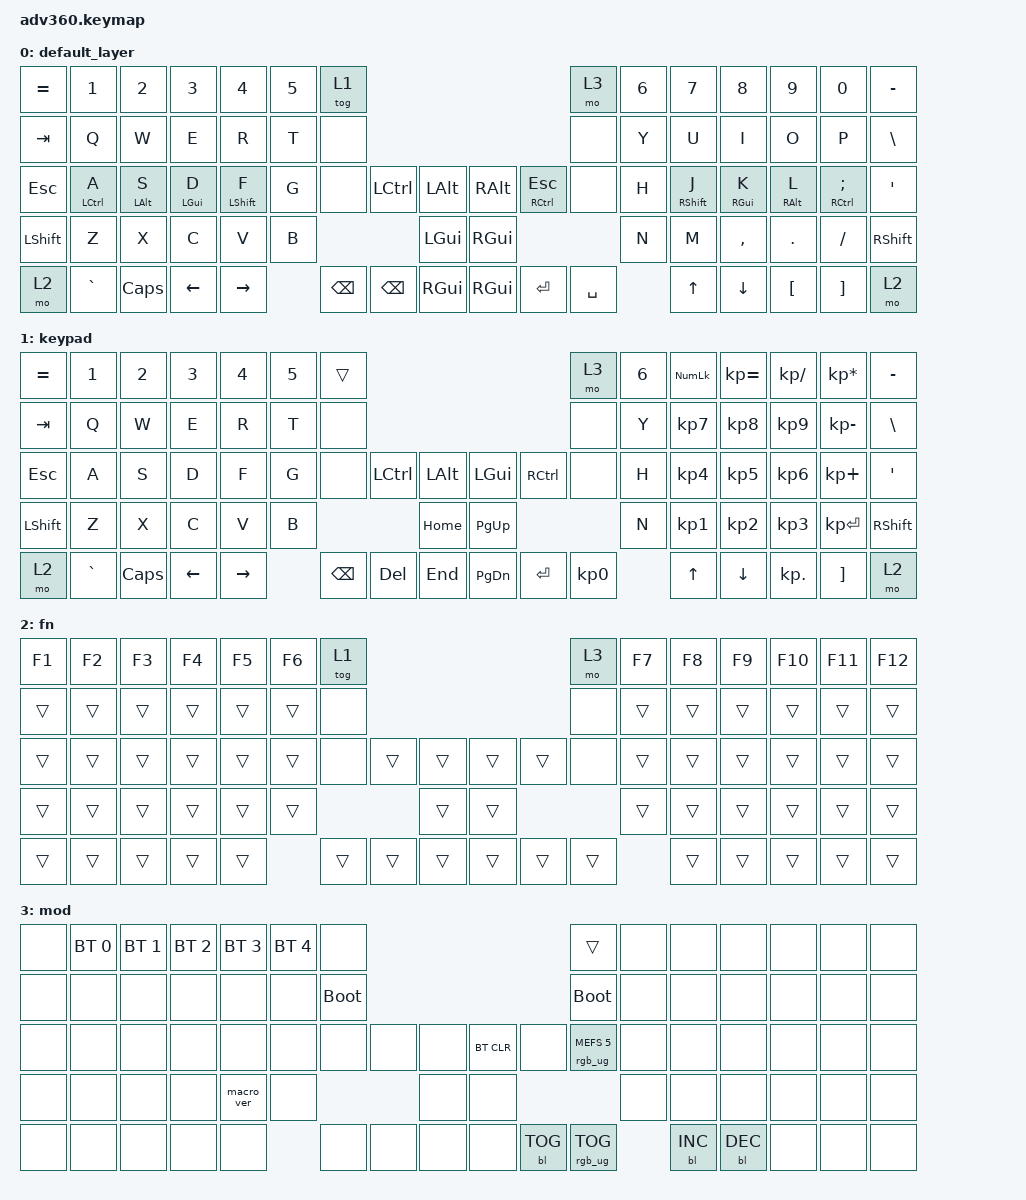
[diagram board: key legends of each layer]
#include <behaviors.dtsi>
#include <dt-bindings/zmk/backlight.h>
#include <dt-bindings/zmk/bt.h>
#include <dt-bindings/zmk/keys.h>
#include <dt-bindings/zmk/rgb.h>



#define KEYS_L   0  1  2  3  4  5  6 \
                14 15 16 17 18 19 20 \
                28 29 30 31 32 33 34 \
                46 47 48 49 50 51    \
                60 61 62 63 64

#define THUMBS_LEFT     35 36 \
                           52 \
                     65 66 67

#define KEYS_R   7  8  9 10 11 12 13 \
                21 22 23 24 25 26 27 \
                39 40 41 42 43 44 45 \
                   54 55 56 57 58 59 \
                      71 72 73 74 75

#define THUMBS_RIGHT 37 38    \
                     53       \
                     68 69 70


#define THUMBS THUMBS_LEFT THUMBS_RIGHT

/ {
    behaviors {
        #include "macros.dtsi"
      #include "version.dtsi"
      #ifndef VERSION_MACRO

        macro_ver: macro_ver {
            compatible = "zmk,behavior-macro";
            label = "macro_version";
            #binding-cells = <0>;
            bindings = <&kp RET>;
        };

        #endif

        hm: homerow_mods {
            compatible = "zmk,behavior-hold-tap";
            label = "HOMEROW_MODS";
            #binding-cells = <2>;
            tapping-term-ms = <200>;
            quick_tap_ms = <175>;
            flavor = "tap-preferred";
            bindings = <&kp>, <&kp>;
        };

        hml: homerow_mods_left {
            compatible = "zmk,behavior-hold-tap";
            label = "HOMEROW_MODS_LEFT";
            #binding-cells = <2>;
            flavor = "balanced";
            tapping-term-ms = <280>;
            require-prior-idle-ms = <150>;
            hold-trigger-key-positions = <KEYS_R THUMBS>;
            hold-trigger-on-release;
            bindings = <&kp>, <&kp>;
        };

        hmr: homerow_mods_right {
            compatible = "zmk,behavior-hold-tap";
            label = "HOMEROW_MODS_RIGHT";
            #binding-cells = <2>;
            flavor = "balanced";
            tapping-term-ms = <280>;
            require-prior-idle-ms = <150>;
            hold-trigger-key-positions = <KEYS_L THUMBS>;
            hold-trigger-on-release;
            bindings = <&kp>, <&kp>;
        };
    };

    macros {
    };

    keymap {
        compatible = "zmk,keymap";

        default_layer {
            bindings = <
&kp EQUAL  &kp N1              &kp N2          &kp N3          &kp N4            &kp N5  &tog 1                                                                           &mo 3      &kp N6  &kp N7             &kp N8           &kp N9           &kp N0                  &kp MINUS
&kp TAB    &kp Q               &kp W           &kp E           &kp R             &kp T   &none                                                                            &none      &kp Y   &kp U              &kp I            &kp O            &kp P                   &kp BSLH
&kp ESC    &hml LEFT_CONTROL A  &hml LEFT_ALT S  &hml LEFT_GUI D  &hml LEFT_SHIFT F  &kp G   &none          &kp LCTRL      &kp LALT          &kp RIGHT_ALT  &hm RCTRL ESCAPE  &none      &kp H   &hmr RIGHT_SHIFT J  &hmr RIGHT_GUI K  &hmr RIGHT_ALT L  &hmr RIGHT_CONTROL SEMI  &kp SQT
&kp LSHFT  &kp Z               &kp X           &kp C           &kp V             &kp B                                 &kp LEFT_GUI      &kp RIGHT_GUI                               &kp N   &kp M              &kp COMMA        &kp DOT          &kp FSLH                &kp RSHFT
&mo 2      &kp GRAVE           &kp CAPS        &kp LEFT        &kp RIGHT                 &kp BACKSPACE  &kp BACKSPACE  &kp RGUI          &kp RGUI       &kp ENTER         &kp SPACE          &kp UP             &kp DOWN         &kp LBKT         &kp RBKT                &mo 2
            >;
        };

        keypad {
            bindings = <
&kp EQUAL  &kp N1     &kp N2    &kp N3    &kp N4     &kp N5  &trans                                                   &mo 3      &kp N6  &kp KP_NUM  &kp KP_EQUAL  &kp KP_DIVIDE  &kp KP_MULTIPLY  &kp MINUS
&kp TAB    &kp Q      &kp W     &kp E     &kp R      &kp T   &none                                                    &none      &kp Y   &kp KP_N7   &kp KP_N8     &kp KP_N9      &kp KP_MINUS     &kp BSLH
&kp ESC    &kp A      &kp S     &kp D     &kp F      &kp G   &none     &kp LCTRL  &kp LALT      &kp LGUI   &kp RCTRL  &none      &kp H   &kp KP_N4   &kp KP_N5     &kp KP_N6      &kp KP_PLUS      &kp SQT
&kp LSHFT  &kp Z      &kp X     &kp C     &kp V      &kp B                        &kp HOME      &kp PG_UP                        &kp N   &kp KP_N1   &kp KP_N2     &kp KP_N3      &kp KP_ENTER     &kp RSHFT
&mo 2      &kp GRAVE  &kp CAPS  &kp LEFT  &kp RIGHT          &kp BSPC  &kp DEL    &kp END       &kp PG_DN  &kp ENTER  &kp KP_N0          &kp UP      &kp DOWN      &kp KP_DOT     &kp RBKT         &mo 2
            >;
        };

        fn {
            bindings = <
&kp F1  &kp F2  &kp F3  &kp F4  &kp F5  &kp F6  &tog 1                                      &mo 3   &kp F7  &kp F8  &kp F9  &kp F10  &kp F11  &kp F12
&trans  &trans  &trans  &trans  &trans  &trans  &none                                       &none   &trans  &trans  &trans  &trans   &trans   &trans
&trans  &trans  &trans  &trans  &trans  &trans  &none   &trans  &trans      &trans  &trans  &none   &trans  &trans  &trans  &trans   &trans   &trans
&trans  &trans  &trans  &trans  &trans  &trans                  &trans      &trans                  &trans  &trans  &trans  &trans   &trans   &trans
&trans  &trans  &trans  &trans  &trans          &trans  &trans  &trans      &trans  &trans  &trans          &trans  &trans  &trans   &trans   &trans
            >;
        };

        mod {
            bindings = <
&none  &bt BT_SEL 0  &bt BT_SEL 1  &bt BT_SEL 2  &bt BT_SEL 3  &bt BT_SEL 4  &none                                                  &trans                  &none  &none       &none       &none  &none  &none
&none  &none         &none         &none         &none         &none         &bootloader                                            &bootloader             &none  &none       &none       &none  &none  &none
&none  &none         &none         &none         &none         &none         &none        &none  &none      &bt BT_CLR  &none       &rgb_ug RGB_MEFS_CMD 5  &none  &none       &none       &none  &none  &none
&none  &none         &none         &none         &macro_ver    &none                             &none      &none                                           &none  &none       &none       &none  &none  &none
&none  &none         &none         &none         &none                       &none        &none  &none      &none       &bl BL_TOG  &rgb_ug RGB_TOG                &bl BL_INC  &bl BL_DEC  &none  &none  &none
            >;
        };
    };
};
